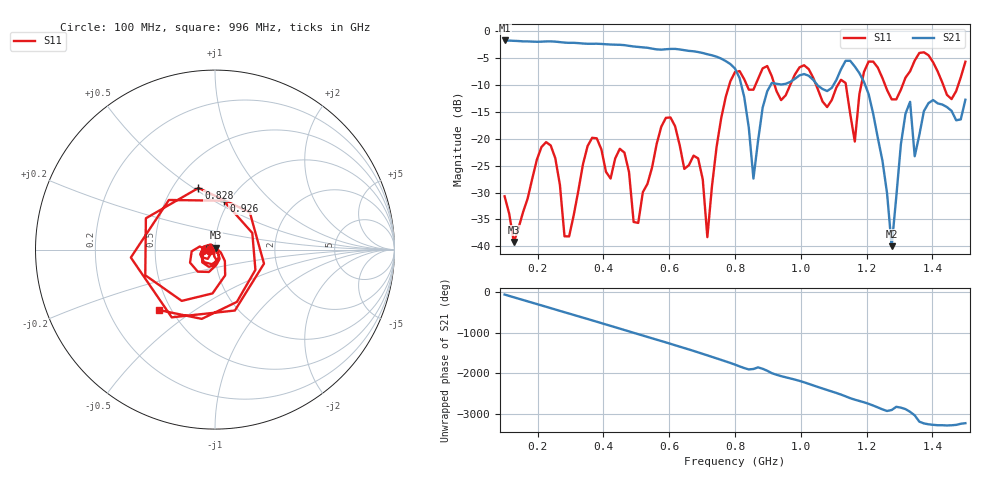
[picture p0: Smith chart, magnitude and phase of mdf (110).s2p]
! NanoVNA-App
! Date: 2025-09-25 17:41:49
! Start: 100MHz Stop: 1,5GHz Points: 101
! S-Parameter data: F S11 S21 S12 S22
# Hz S RI R 50
!  Frequency  S11_Real  S11_Imag  S21_Real  S21_Imag  S12_Real  S12_Imag  S22_Real  S22_Imag
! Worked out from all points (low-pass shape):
!   101 points, 100 MHz to 1.5 GHz, reference 50 ohm
!   highest |S21| = -1.80 dB at 100 MHz (marker M1); lowest = -39.9 dB at 1.276 GHz (marker M2)
!   |S21| within 3 dB of the highest: start of sweep to 743.6 MHz
!   lowest |S11| = -39.2 dB at 128 MHz (marker M3), VSWR 1.02, Z = 50.3 + j1.05 ohm
!   |S11| at or under -10 dB: start of sweep to 782.9 MHz; 920 MHz to 968.1 MHz (48.12 MHz wide, 5.1 % of centre); 1.046 GHz to 1.113 GHz (67.09 MHz wide, 6.21 % of centre) (the widest 3 of 7)
!   S12 and S22 are empty: the file has one direction only
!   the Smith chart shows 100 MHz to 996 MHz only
!   S11 on the Smith chart (normalised r, x): 100 MHz: 0.94, -0.01; 828 MHz: 0.67, +0.52; 926 MHz: 0.94, +0.56; 996 MHz: 0.43, -0.37
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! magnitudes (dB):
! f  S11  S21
! 100 MHz  -30.7  -1.8
! 128 MHz  -39.2  -1.9
! 212 MHz  -21.6  -2.0
! 282 MHz  -38.1  -2.2
! 338 MHz  -24.8  -2.4
! 464 MHz  -22.6  -2.7
! 506 MHz  -35.6  -3.0
! 576 MHz  -17.8  -3.5
! 688 MHz  -23.7  -3.9
! 716 MHz  -38.3  -4.4
! 800 MHz  -7.7  -7.0
! 828 MHz  -9.0  -12.3
! 856 MHz  -10.9  -27.4
! 926 MHz  -11.2  -9.8
! 996 MHz  -6.8  -8.3
! 1.038 GHz  -8.8  -9.1
! 1.164 GHz  -20.5  -6.6
! 1.192 GHz  -7.6  -9.5
! 1.276 GHz  -12.7  -39.9
! 1.332 GHz  -7.5  -13.2
! 1.346 GHz  -5.5  -23.3
! 1.5 GHz  -5.7  -12.8
